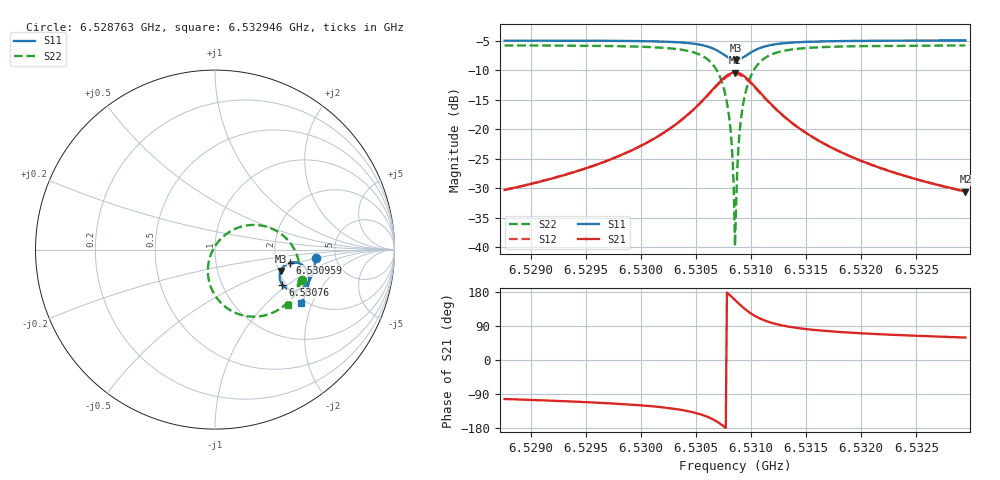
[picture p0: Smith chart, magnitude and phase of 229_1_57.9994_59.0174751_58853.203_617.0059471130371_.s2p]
#  HZ  S  RI  R  50.00
! Rohde & Schwarz Vector Network Analyzer
! Rohde-Schwarz,ZNB20-2Port,1311601062101988,3.16
! Created: UTC 3/21/2024, 1:00:28 AM
! freq[Hz]  re:S11  im:S11  re:S21  im:S21  re:S12  im:S12  re:S22  im:S22
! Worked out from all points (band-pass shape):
!   401 points, 6.528763 GHz to 6.532946 GHz, reference 50 ohm
!   highest |S21| = -10.40 dB at 6.530854 GHz (marker M1); lowest = -30.5 dB at 6.532946 GHz (marker M2)
!   |S21| within 3 dB of the highest: 6.530646 GHz to 6.531064 GHz (418.4 kHz wide, 0.00641 % of centre)
!   lowest |S11| = -8.3 dB at 6.530865 GHz (marker M3), VSWR 2.25, Z = 102 - j28.6 ohm
!   |S11| at or under -10 dB: nowhere
!   |S22| runs from -39.8 to -5.8 dB; largest |S21 - S12| = 0.012
!   S11 on the Smith chart (normalised r, x): 6.528763 GHz: 3.50, -0.49; 6.53076 GHz: 1.92, -0.91; 6.530959 GHz: 2.38, -0.42; 6.532946 GHz: 1.90, -1.65
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6.5287634e9  0.5603 -0.0481  -0.00694 -0.0298  -0.00747 -0.0298  0.4825 -0.171
6.5294639e9  0.5512 -0.1065  -0.0162 -0.0426  -0.0172 -0.0423  0.4516 -0.2348
6.5301644e9  0.5242 -0.1762  -0.0492 -0.0731  -0.0512 -0.0717  0.3704 -0.3238
6.5304049e9  0.4979 -0.2067  -0.0884 -0.0924  -0.0911 -0.0893  0.2907 -0.3631
6.5305826e9  0.4551 -0.2267  -0.1554 -0.0989  -0.1578 -0.0926  0.1665 -0.369
6.5306872e9  0.4106 -0.2221  -0.2242 -0.0731  -0.2233 -0.0637  0.0511 -0.3135
6.5307604e9  0.3757 -0.1956  -0.2747 -0.0154  -0.2691 -0.00557  -0.0238 -0.2075
6.5308022e9  0.3625 -0.1684  -0.2904 0.0367  -0.2817 0.0446  -0.0399 -0.1182
6.5308231e9  0.3602 -0.1523  -0.2912 0.0663  -0.2811 0.0727  -0.0352 -0.0697
6.5308336e9  0.3602 -0.1439  -0.2893 0.0813  -0.2789 0.0869  -0.0294 -0.0454
6.530844e9  0.3611 -0.1355  -0.2859 0.0962  -0.2752 0.1009  -0.0209 -0.0216
6.5308545e9  0.3631 -0.1273  -0.2809 0.1108  -0.2702 0.1145  -0.0102 0.00134
6.5308649e9  0.3658 -0.1191  -0.2747 0.1249  -0.2639 0.1277  0.00281 0.0231
6.5308754e9  0.3694 -0.1116  -0.267 0.1382  -0.2563 0.1401  0.0177 0.0434
6.5308859e9  0.3737 -0.1044  -0.2581 0.1508  -0.2478 0.1516  0.0343 0.0621
6.5309068e9  0.3844 -0.092  -0.2375 0.1721  -0.228 0.1715  0.0719 0.0933
6.530959e9  0.4168 -0.0733  -0.1783 0.2039  -0.1714 0.2009  0.1755 0.1343
6.5310322e9  0.4593 -0.073  -0.1041 0.206  -0.1004 0.2031  0.3 0.1233
6.5311368e9  0.4963 -0.0947  -0.0401 0.1756  -0.0384 0.1741  0.4027 0.0565
6.531555e9  0.5233 -0.1737  0.0151 0.085  0.0161 0.0846  0.4722 -0.1337
6.5322555e9  0.5054 -0.2454  0.0175 0.0407  0.0182 0.0405  0.443 -0.2486
6.5329456e9  0.4794 -0.2974  0.0151 0.0256  0.0158 0.0252  0.408 -0.3085
